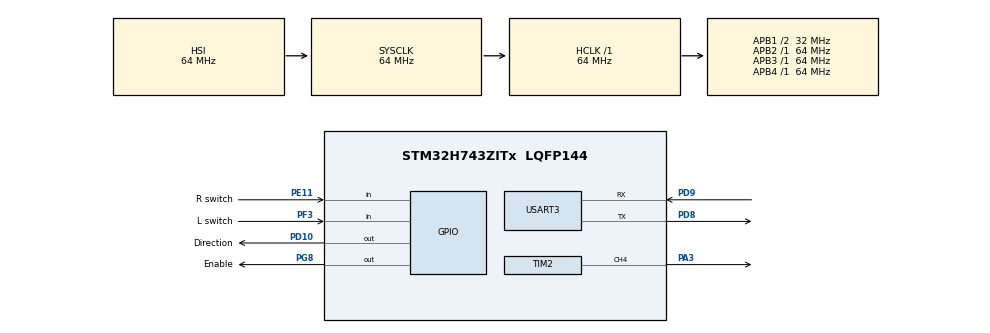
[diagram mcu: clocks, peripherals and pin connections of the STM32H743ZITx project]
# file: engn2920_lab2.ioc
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Mcu.Family=STM32H7
Mcu.Name=STM32H743ZITx
Mcu.Package=LQFP144
NVIC.PriorityGroup=NVIC_PRIORITYGROUP_4
NVIC.TIM2_IRQn=true\:0\:0\:false\:false\:true\:true\:true\:true
PA3.Signal=S_TIM2_CH4
PD10.GPIO_Label=Direction
PD10.Signal=GPIO_Output
PD8.Mode=Asynchronous
PD8.Signal=USART3_TX
PD9.Mode=Asynchronous
PD9.Signal=USART3_RX
PE11.GPIO_Label=R switch
PE11.Signal=GPIO_Input
PF3.GPIO_Label=L switch
PF3.Signal=GPIO_Input
PG8.GPIO_Label=Enable
PG8.Signal=GPIO_Output
ProjectManager.HeapSize=0x200
ProjectManager.StackSize=0x400
ProjectManager.TargetToolchain=STM32CubeIDE
RCC.ADCFreq_Value=129000000
RCC.APB1Freq_Value=32000000
RCC.APB2Freq_Value=64000000
RCC.APB3Freq_Value=64000000
RCC.APB4Freq_Value=64000000
RCC.CortexFreq_Value=64000000
RCC.D2PPRE1=RCC_APB1_DIV2
RCC.HCLKFreq_Value=64000000
RCC.SYSCLKFreq_VALUE=64000000
RCC.USBFreq_Value=129000000
SH.S_TIM2_CH4.0=TIM2_CH4,PWM Generation4 CH4
TIM2.Channel-PWM\ Generation4\ CH4=TIM_CHANNEL_4
TIM2.Period=0
USART3.VirtualMode-Asynchronous=VM_ASYNC
board=custom

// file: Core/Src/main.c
/* USER CODE BEGIN Header */
/**
  ******************************************************************************
  * @file           : main.c
  * @brief          : Main program body
  ******************************************************************************
  * @attention
  *
  * Copyright (c) 2024 STMicroelectronics.
  * All rights reserved.
  *
  * This software is licensed under terms that can be found in the LICENSE file
  * in the root directory of this software component.
  * If no LICENSE file comes with this software, it is provided AS-IS.
  *
  ******************************************************************************
  */
/* USER CODE END Header */
#include "main.h"

/* USER CODE BEGIN Includes */
#include <string.h>
#include <math.h>
#include <stdio.h>
#include <stdlib.h>
#include <stdarg.h>

/* USER CODE END Includes */

/* USER CODE BEGIN PD */
#define TABLE_SIZE 2000

/* USER CODE END PD */

TIM_HandleTypeDef htim2;

UART_HandleTypeDef huart3;

void SystemClock_Config(void);
static void MX_GPIO_Init(void);
static void MX_USART3_UART_Init(void);
static void MX_TIM2_Init(void);

/* USER CODE BEGIN 0 */

static void myprintf (const char *fmt, ...)
{
	va_list arglist;
	int nby;
	unsigned char st[256];

	if (!fmt) return;
	va_start(arglist,fmt);
	nby = vsnprintf((char *)st,sizeof(st),fmt,arglist);
	va_end(arglist);
	if (nby < 0) { nby = sizeof(st)-1; } //print truncated string in case too long
	if (nby) HAL_UART_Transmit(&huart3,st,nby,10);
}

int mygetch (void) //Poll
{
	uint8_t ch = 0;
	if (HAL_UART_Receive(&huart3, (uint8_t *)&ch, 1, 0) == HAL_OK) return ch;
	return -1; //HAL_TIMEOUT
}

int arr[TABLE_SIZE];

void generate_lookuptalbe(){
	int v_min = 3200;//2000;
	int v_max = 32000;//16000;
	float t_max = 0.75;
	int f = 0;
	float t = 0;

	f = v_min;
	for (int i=0;i<TABLE_SIZE;i++){
		if (t<t_max){
			t +=(float)1/f;
			f = ((v_max-v_min)*t/t_max)+v_min;
			arr[i]=64000000/f;
		}
	}
	myprintf("look up table generated\n\r");
}

int min(int a, int b) {
    return (a < b) ? a : b;
}

int calibration_active = 0;
int calibration_step_count = 0;
int calibration_stage = 0;
int calibration_check=0;

int step_count=0; //global
int moving = 0;
int step_goal=0;
int i=0;
int dir=0;
int L=0;
int R=0;
int period=0;

void HAL_TIM_PWM_PulseFinishedCallback(TIM_HandleTypeDef *htim)
{
   if (htim == &htim2)
   {
	   if(calibration_active){  // Calibration
		   calibration_step_count++;
		   R = HAL_GPIO_ReadPin(R_switch_GPIO_Port,R_switch_Pin);
		   L = HAL_GPIO_ReadPin(L_switch_GPIO_Port,L_switch_Pin);
		   if (L == 0 ){  // stage 0 and stage 2
			   myprintf("L= %d, R= %d\n\r",L, R);
			   myprintf("CALIBRATION stage %d \n\r",calibration_stage);
			   HAL_GPIO_WritePin(Enable_GPIO_Port, Enable_Pin, 1);
			   TIM2->ARR = 0;
			   dir= 1;
			   if(calibration_stage == 0){
				   calibration_stage=1;
				   calibration_step_count=0;
			   }
		   }else if (R==0){ //stage 1 and 3
			   myprintf("L= %d, R= %d\n\r",L, R);
			   myprintf("CALIBRATION stage %d \n\r",calibration_stage);
			   HAL_GPIO_WritePin(Enable_GPIO_Port, Enable_Pin, 1);
			   TIM2->ARR = 0;
			   dir= 0;

			   if(calibration_stage == 1){
				   calibration_stage=2;
				   //HAL_GPIO_WritePin(Enable_GPIO_Port, Enable_Pin, 1);
				   calibration_active=0;
				   calibration_check=1;
				   step_count=0;
				   myprintf("CALIBRATION stage %d start\n\r",calibration_stage);
			   }
		   }
		   HAL_GPIO_WritePin(Direction_GPIO_Port, Direction_Pin, dir);
		   HAL_GPIO_WritePin(Enable_GPIO_Port, Enable_Pin, 0);
		   TIM2->ARR = 6000-1;
	   }

	   if(calibration_check){
		   step_count++;
		   if (step_count >= calibration_step_count/2){
			   calibration_check = 0;
				  HAL_GPIO_WritePin(Enable_GPIO_Port, Enable_Pin, 1);
				  TIM2->ARR = 0;
				  HAL_TIM_PWM_Stop_IT(&htim2, TIM_CHANNEL_4);
				  myprintf("CALIBRATION DONE %d\n\r",calibration_step_count);
			   }else{ // update period
				   i = min(min(step_count, calibration_step_count - step_count), TABLE_SIZE-1);
				   period = arr[i]-1;
			   }
	   }

	   if(moving){
		   step_count++;

		   if (step_count >= step_goal){
			  moving=0;
			  HAL_GPIO_WritePin(Enable_GPIO_Port, Enable_Pin, 1);
			  TIM2->ARR = 0;
			  HAL_TIM_PWM_Stop_IT(&htim2, TIM_CHANNEL_4);
			  myprintf("DONE moving %d\n\r",step_goal);
		   }else{ // update period
			   i = min(min(step_count, step_goal - step_count), TABLE_SIZE-1);
			   period = arr[i]-1;
		   }

		   R = HAL_GPIO_ReadPin(R_switch_GPIO_Port,R_switch_Pin);
		   L = HAL_GPIO_ReadPin(L_switch_GPIO_Port,L_switch_Pin);
		   if (L == 0 ){
			   HAL_GPIO_WritePin(Enable_GPIO_Port, Enable_Pin, 1);
			   TIM2->ARR = 0;
			   dir = 1;
		   }else if (R==0){
			   HAL_GPIO_WritePin(Enable_GPIO_Port, Enable_Pin, 1);
			   TIM2->ARR = 0;
			   dir = 0;
		   }
		   HAL_GPIO_WritePin(Direction_GPIO_Port, Direction_Pin, dir);
		   HAL_GPIO_WritePin(Enable_GPIO_Port, Enable_Pin, 0);
		   TIM2->ARR = period-1;
		   TIM2->CCR4 = period/2-1;
	   }
   }
}

void calibrate_motor(){
    calibration_active = 1;
    //calibration_step_count = 0
	myprintf("CALIBRATION \n\r");
	TIM2->ARR = 6000-1; //write period for next cycle
	TIM2->CCR4 = 200 -1;

	HAL_GPIO_WritePin(Enable_GPIO_Port, Enable_Pin, 0);
	HAL_GPIO_WritePin(Direction_GPIO_Port, Direction_Pin, 0);// 0 for left

    HAL_TIM_PWM_Start_IT(&htim2, TIM_CHANNEL_4); // Start PWM
}

void move_motor(int M, int dir){
	myprintf("move to the %d for %d\n\r",dir, M);
	moving = 1;
	step_goal=M;

	step_count=0;
	TIM2->ARR = arr[0]-1; //write period for next cycle
	TIM2->CCR4 = arr[0]/2 ;

	HAL_GPIO_WritePin(Enable_GPIO_Port, Enable_Pin, 0);
	HAL_GPIO_WritePin(Direction_GPIO_Port, Direction_Pin, dir);

	HAL_TIM_PWM_Start_IT(&htim2, TIM_CHANNEL_4); // Start PWM

}

/* USER CODE END 0 */

int main(void)
{

  /* MCU Configuration--------------------------------------------------------*/

  /* Reset of all peripherals, Initializes the Flash interface and the Systick. */
  HAL_Init();

  /* Configure the system clock */
  SystemClock_Config();

  /* Initialize all configured peripherals */
  MX_GPIO_Init();
  MX_USART3_UART_Init();
  MX_TIM2_Init();
  /* USER CODE BEGIN 2 */
  myprintf("--Program Start \n\r");
  calibrate_motor();
  generate_lookuptalbe();
  //move_motor(163917/2,1);

  if(calibration_check){
	  move_motor(calibration_step_count/2,1);
  }

  /* USER CODE END 2 */

  /* Infinite loop */
  /* USER CODE BEGIN WHILE */
  // calibration // 163917  166600 loop==2

  while (1)
  {
    /* USER CODE END WHILE */

  }
}

void SystemClock_Config(void)
{
  RCC_OscInitTypeDef RCC_OscInitStruct = {0};
  RCC_ClkInitTypeDef RCC_ClkInitStruct = {0};

  /** Supply configuration update enable
  */
  HAL_PWREx_ConfigSupply(PWR_LDO_SUPPLY);

  /** Configure the main internal regulator output voltage
  */
  __HAL_PWR_VOLTAGESCALING_CONFIG(PWR_REGULATOR_VOLTAGE_SCALE3);

  while(!__HAL_PWR_GET_FLAG(PWR_FLAG_VOSRDY)) {}

  /** Initializes the RCC Oscillators according to the specified parameters
  * in the RCC_OscInitTypeDef structure.
  */
  RCC_OscInitStruct.OscillatorType = RCC_OSCILLATORTYPE_HSI;
  RCC_OscInitStruct.HSIState = RCC_HSI_DIV1;
  RCC_OscInitStruct.HSICalibrationValue = RCC_HSICALIBRATION_DEFAULT;
  RCC_OscInitStruct.PLL.PLLState = RCC_PLL_NONE;
  if (HAL_RCC_OscConfig(&RCC_OscInitStruct) != HAL_OK)
  {
    Error_Handler();
  }

  /** Initializes the CPU, AHB and APB buses clocks
  */
  RCC_ClkInitStruct.ClockType = RCC_CLOCKTYPE_HCLK|RCC_CLOCKTYPE_SYSCLK
                              |RCC_CLOCKTYPE_PCLK1|RCC_CLOCKTYPE_PCLK2
                              |RCC_CLOCKTYPE_D3PCLK1|RCC_CLOCKTYPE_D1PCLK1;
  RCC_ClkInitStruct.SYSCLKSource = RCC_SYSCLKSOURCE_HSI;
  RCC_ClkInitStruct.SYSCLKDivider = RCC_SYSCLK_DIV1;
  RCC_ClkInitStruct.AHBCLKDivider = RCC_HCLK_DIV1;
  RCC_ClkInitStruct.APB3CLKDivider = RCC_APB3_DIV1;
  RCC_ClkInitStruct.APB1CLKDivider = RCC_APB1_DIV2;
  RCC_ClkInitStruct.APB2CLKDivider = RCC_APB2_DIV1;
  RCC_ClkInitStruct.APB4CLKDivider = RCC_APB4_DIV1;

  if (HAL_RCC_ClockConfig(&RCC_ClkInitStruct, FLASH_LATENCY_1) != HAL_OK)
  {
    Error_Handler();
  }
}

static void MX_TIM2_Init(void)
{

  TIM_MasterConfigTypeDef sMasterConfig = {0};
  TIM_OC_InitTypeDef sConfigOC = {0};

  htim2.Instance = TIM2;
  htim2.Init.Prescaler = 0;
  htim2.Init.CounterMode = TIM_COUNTERMODE_UP;
  htim2.Init.Period = 0;
  htim2.Init.ClockDivision = TIM_CLOCKDIVISION_DIV1;
  htim2.Init.AutoReloadPreload = TIM_AUTORELOAD_PRELOAD_DISABLE;
  if (HAL_TIM_PWM_Init(&htim2) != HAL_OK)
  {
    Error_Handler();
  }
  sMasterConfig.MasterOutputTrigger = TIM_TRGO_RESET;
  sMasterConfig.MasterSlaveMode = TIM_MASTERSLAVEMODE_DISABLE;
  if (HAL_TIMEx_MasterConfigSynchronization(&htim2, &sMasterConfig) != HAL_OK)
  {
    Error_Handler();
  }
  sConfigOC.OCMode = TIM_OCMODE_PWM1;
  sConfigOC.Pulse = 0;
  sConfigOC.OCPolarity = TIM_OCPOLARITY_HIGH;
  sConfigOC.OCFastMode = TIM_OCFAST_DISABLE;
  if (HAL_TIM_PWM_ConfigChannel(&htim2, &sConfigOC, TIM_CHANNEL_4) != HAL_OK)
  {
    Error_Handler();
  }
  HAL_TIM_MspPostInit(&htim2);

}

static void MX_USART3_UART_Init(void)
{

  huart3.Instance = USART3;
  huart3.Init.BaudRate = 115200;
  huart3.Init.WordLength = UART_WORDLENGTH_8B;
  huart3.Init.StopBits = UART_STOPBITS_1;
  huart3.Init.Parity = UART_PARITY_NONE;
  huart3.Init.Mode = UART_MODE_TX_RX;
  huart3.Init.HwFlowCtl = UART_HWCONTROL_NONE;
  huart3.Init.OverSampling = UART_OVERSAMPLING_16;
  huart3.Init.OneBitSampling = UART_ONE_BIT_SAMPLE_DISABLE;
  huart3.Init.ClockPrescaler = UART_PRESCALER_DIV1;
  huart3.AdvancedInit.AdvFeatureInit = UART_ADVFEATURE_NO_INIT;
  if (HAL_UART_Init(&huart3) != HAL_OK)
  {
    Error_Handler();
  }
  if (HAL_UARTEx_SetTxFifoThreshold(&huart3, UART_TXFIFO_THRESHOLD_1_8) != HAL_OK)
  {
    Error_Handler();
  }
  if (HAL_UARTEx_SetRxFifoThreshold(&huart3, UART_RXFIFO_THRESHOLD_1_8) != HAL_OK)
  {
    Error_Handler();
  }
  if (HAL_UARTEx_DisableFifoMode(&huart3) != HAL_OK)
  {
    Error_Handler();
  }

}

static void MX_GPIO_Init(void)
{
  GPIO_InitTypeDef GPIO_InitStruct = {0};

  /* GPIO Ports Clock Enable */
  __HAL_RCC_GPIOF_CLK_ENABLE();
  __HAL_RCC_GPIOA_CLK_ENABLE();
  __HAL_RCC_GPIOE_CLK_ENABLE();
  __HAL_RCC_GPIOD_CLK_ENABLE();
  __HAL_RCC_GPIOG_CLK_ENABLE();

  /*Configure GPIO pin Output Level */
  HAL_GPIO_WritePin(Direction_GPIO_Port, Direction_Pin, GPIO_PIN_RESET);

  /*Configure GPIO pin Output Level */
  HAL_GPIO_WritePin(Enable_GPIO_Port, Enable_Pin, GPIO_PIN_RESET);

  /*Configure GPIO pin : L_switch_Pin */
  GPIO_InitStruct.Pin = L_switch_Pin;
  GPIO_InitStruct.Mode = GPIO_MODE_INPUT;
  GPIO_InitStruct.Pull = GPIO_NOPULL;
  HAL_GPIO_Init(L_switch_GPIO_Port, &GPIO_InitStruct);

  /*Configure GPIO pin : R_switch_Pin */
  GPIO_InitStruct.Pin = R_switch_Pin;
  GPIO_InitStruct.Mode = GPIO_MODE_INPUT;
  GPIO_InitStruct.Pull = GPIO_NOPULL;
  HAL_GPIO_Init(R_switch_GPIO_Port, &GPIO_InitStruct);

  /*Configure GPIO pin : Direction_Pin */
  GPIO_InitStruct.Pin = Direction_Pin;
  GPIO_InitStruct.Mode = GPIO_MODE_OUTPUT_PP;
  GPIO_InitStruct.Pull = GPIO_NOPULL;
  GPIO_InitStruct.Speed = GPIO_SPEED_FREQ_LOW;
  HAL_GPIO_Init(Direction_GPIO_Port, &GPIO_InitStruct);

  /*Configure GPIO pin : Enable_Pin */
  GPIO_InitStruct.Pin = Enable_Pin;
  GPIO_InitStruct.Mode = GPIO_MODE_OUTPUT_PP;
  GPIO_InitStruct.Pull = GPIO_NOPULL;
  GPIO_InitStruct.Speed = GPIO_SPEED_FREQ_LOW;
  HAL_GPIO_Init(Enable_GPIO_Port, &GPIO_InitStruct);

}

void Error_Handler(void)
{
  __disable_irq();
  while (1)
  {
  }
}
